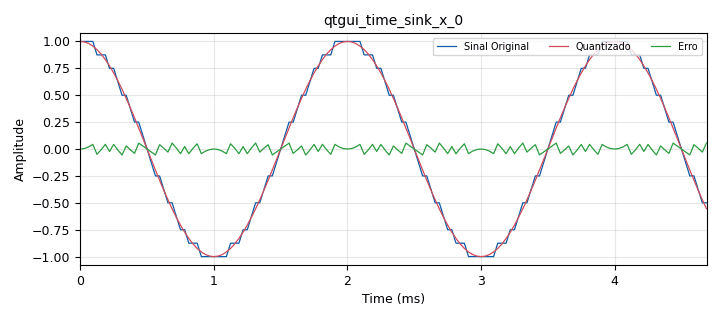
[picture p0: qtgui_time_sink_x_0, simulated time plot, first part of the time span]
options:
  parameters:
    generate_options: qt_gui
    id: top_block
    output_language: python
  states: {}

blocks:
- name: samp_rate
  id: variable
  parameters:
    value: '32000'
  states: {}
- name: analog_sig_source_x_0
  id: analog_sig_source_x
  parameters:
    amp: '1'
    freq: '500'
    offset: '0'
    phase: '0'
    samp_rate: samp_rate
    type: float
    waveform: analog.GR_COS_WAVE
  states: {}
- name: blocks_sub_xx_0
  id: blocks_sub_xx
  parameters:
    type: float
  states: {}
- name: blocks_throttle_0
  id: blocks_throttle
  parameters:
    samples_per_second: samp_rate
    type: float
  states: {}
- name: channels_quantizer_0
  id: channels_quantizer
  parameters:
    bits: '4'
  states: {}
- name: qtgui_time_sink_x_0
  id: qtgui_time_sink_x
  parameters:
    label1: Sinal Original
    label2: Quantizado
    label3: Erro
    nconnections: '3'
    size: '1024'
    srate: samp_rate
    type: float
  states: {}

connections:
- [analog_sig_source_x_0, '0', blocks_sub_xx_0, '1']
- [analog_sig_source_x_0, '0', blocks_throttle_0, '0']
- [analog_sig_source_x_0, '0', channels_quantizer_0, '0']
- [blocks_sub_xx_0, '0', qtgui_time_sink_x_0, '2']
- [blocks_throttle_0, '0', qtgui_time_sink_x_0, '1']
- [channels_quantizer_0, '0', blocks_sub_xx_0, '0']
- [channels_quantizer_0, '0', qtgui_time_sink_x_0, '0']

metadata:
  file_format: 1
